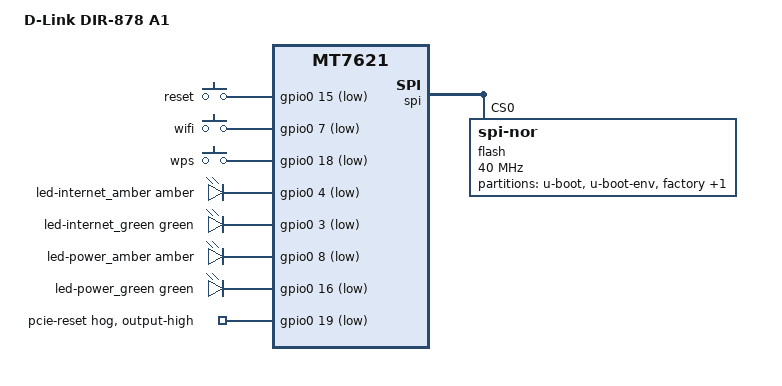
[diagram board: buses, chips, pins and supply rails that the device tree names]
// SPDX-License-Identifier: GPL-2.0-or-later

/dts-v1/;

#include "mt7621.dtsi"

#include <dt-bindings/gpio/gpio.h>
#include <dt-bindings/input/input.h>
#include <dt-bindings/leds/common.h>

/ {
	compatible = "dlink,dir-878-a1", "mediatek,mt7621-soc";
	model = "D-Link DIR-878 A1";

	/delete-node/ clock-48m;
	/delete-node/ clock-50m;
	/delete-node/ watchdog@1e000100;
	/delete-node/ serial@1e000d00;
	/delete-node/ serial@1e000e00;
	/delete-node/ mmc@1e130000;
	/delete-node/ usb@1e1c0000;
	/delete-node/ usb-phy@1e1d0000;

	aliases {
		serial0 = &uart0;
		spi0 = &spi;
	};

	chosen {
		stdout-path = "serial0:115200n8";
	};

	gpio-keys {
		compatible = "gpio-keys";

		button-reset {
			label = "reset";
			linux,code = <KEY_RESTART>;
			gpios = <&gpio0 15 GPIO_ACTIVE_LOW>;
		};

		button-wifi {
			label = "wifi";
			linux,code = <KEY_RFKILL>;
			gpios = <&gpio0 7 GPIO_ACTIVE_LOW>;
		};

		button-wps {
			label = "wps";
			linux,code = <KEY_WPS_BUTTON>;
			gpios = <&gpio0 18 GPIO_ACTIVE_LOW>;
		};
	};

	gpio-leds {
		compatible = "gpio-leds";

		led-internet_amber {
			color = <LED_COLOR_ID_AMBER>;
			function = "internet";
			gpios = <&gpio0 4 GPIO_ACTIVE_LOW>;
			default-state = "off";
		};

		led-internet_green {
			color = <LED_COLOR_ID_GREEN>;
			function = "internet";
			gpios = <&gpio0 3 GPIO_ACTIVE_LOW>;
			default-state = "off";
		};

		led-power_amber {
			color = <LED_COLOR_ID_AMBER>;
			function = LED_FUNCTION_POWER;
			gpios = <&gpio0 8 GPIO_ACTIVE_LOW>;
			default-state = "off";
		};

		led-power_green {
			color = <LED_COLOR_ID_GREEN>;
			function = LED_FUNCTION_POWER;
			gpios = <&gpio0 16 GPIO_ACTIVE_LOW>;
			default-state = "on";
		};
	};

	options {
		u-boot {
			compatible = "u-boot,config";
			boot-btn1 = "reset";
			boot-btn2 = "wps";
			boot-led1 = "green:power";
			boot-led2 = "amber:power";
			bootcmd_1-1 = "tftp_boot_ik";
			bootcmd_1-2 = "tftp_update_fw";
			bootcmd_1-3 = "switch_console";
			bootcmd_1-4 = "env init";
			bootcmd_2-1 = "tftp_boot_ik";
			bootcmd_2-2 = "tftp_update_fw";
			bootcmd_2-3 = "switch_console";
			bootcmd_2-4 = "env init";
		};
	};
};

&gpio0 {
	pcie-reset {
		gpio-hog;
		gpios = <19 GPIO_ACTIVE_LOW>;
		output-high;
	};
};

&pinctrl {
	/delete-node/ uart2_pins;
	/delete-node/ uart3_pins;
	/delete-node/ sdxc_pins;
	/delete-node/ nand_pins;
};

&spi {
	status = "okay";

	flash@0 {
		compatible = "jedec,spi-nor";
		reg = <0>;
		spi-max-frequency = <40000000>;

		partitions {
			compatible = "fixed-partitions";
			#address-cells = <1>;
			#size-cells = <1>;

			partition@0 {
				label = "u-boot";
				reg = <0x00000 0x30000>;
			};

			partition@30000 {
				label = "u-boot-env";
				reg = <0x30000 0x10000>;
			};

			partition@40000 {
				label = "factory";
				reg = <0x40000 0x20000>;
			};

			partition@60000 {
				label = "firmware";
				reg = <0x60000 0x00000>;
			};
		};
	};
};

&state_default {
	/delete-node/ rgmii2-gpio_pins;
};
